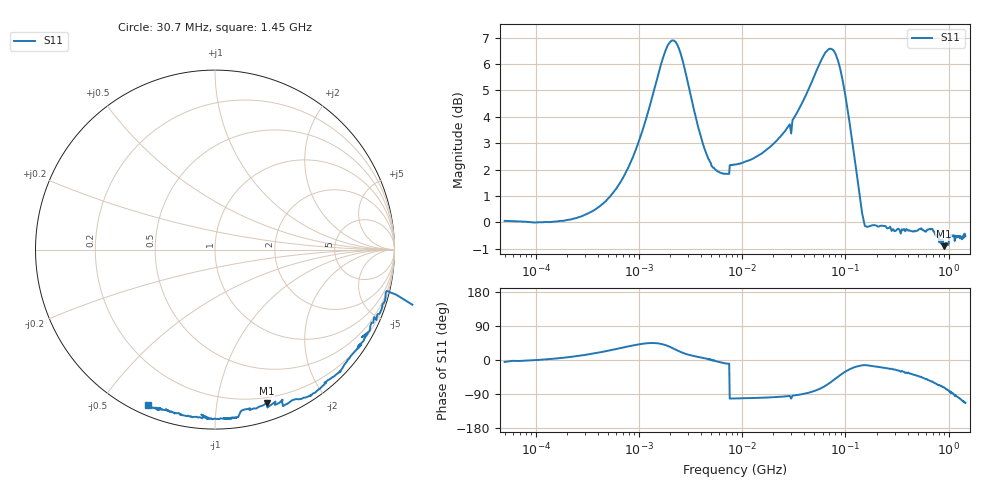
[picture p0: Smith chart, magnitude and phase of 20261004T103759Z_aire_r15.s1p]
! piloto_corto / aire / r15
# HZ S RI R 50
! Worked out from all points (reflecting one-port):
!   501 points, 50 kHz to 1.45 GHz, reference 50 ohm
!   lowest |S11| = -0.9 dB at 892 MHz (marker M1), VSWR 19.33, Z = 7.56 - j69.1 ohm
!   phase of S11 starts at -5 deg and turns -108 deg over the sweep
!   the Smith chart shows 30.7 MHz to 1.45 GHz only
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50000  1.003 -0.0903
183000  1.002 0.1014
363500  1.006 0.3108
658000  1.017 0.6167
1180000  1.135 1.096
1630000  1.463 1.346
1990000  1.799 1.252
2440000  1.959 0.8453
3430000  1.6 0.2912
4870000  1.302 0.00857
7300000  1.218 -0.21
7750000  -0.2597 -1.258
8560000  -0.2557 -1.262
3.16e7  -0.0996 -1.572
4.87e7  0.2348 -1.858
6.58e7  0.8607 -1.927
7.57e7  1.239 -1.719
8.83e7  1.494 -1.272
9.82e7  1.506 -0.9335
1e8  1.494 -0.88
1.18e8  1.305 -0.4941
1.36e8  1.1 -0.3072
1.63e8  0.9515 -0.2369
4.06e8  0.8074 -0.5279
6.31e8  0.5857 -0.7737
8.92e8  0.2882 -0.8544
1.108e9  0.0123 -0.9434
1.45e9  -0.372 -0.8651
